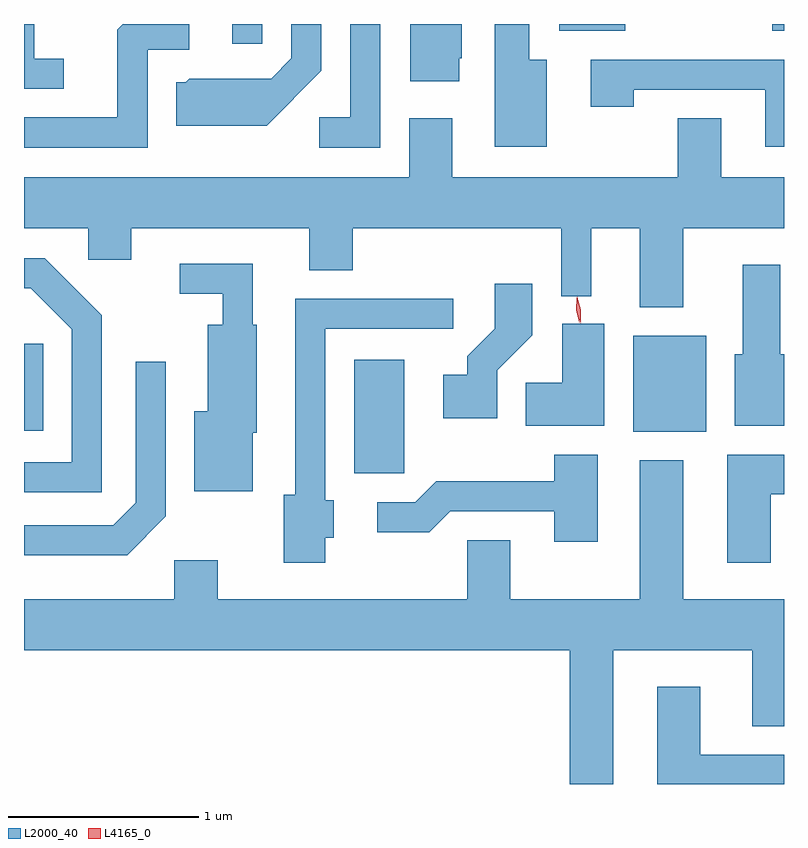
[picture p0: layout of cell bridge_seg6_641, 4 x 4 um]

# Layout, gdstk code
import gdstk
lib = gdstk.Library(unit=1e-6, precision=1e-09)
def R(c, l, rs):  # rectangles x0, y0, x1, y1
    for r in rs: c.add(gdstk.rectangle(r[:2], r[2:], *l))
def P(c, l, *ps):  # polygons
    for p in ps: c.add(gdstk.Polygon(p, *l))
L2000_40 = (2000, 40)
L4165_0 = (4165, 0)

bridge_seg6_641 = lib.new_cell('bridge_seg6_641')
R(bridge_seg6_641, L2000_40, [(212.336,1626.446,212.599,1627.044), (213.806,1626.666,214.189,1627.169), (210.599,1626.671,210.699,1627.129), (211.696,1628.708,211.854,1628.811), (213.416,1628.776,213.764,1628.811), (214.536,1628.776,214.599,1628.811)])
P(bridge_seg6_641, L2000_40, [(211.249,1628.676),(211.469,1628.676),(211.469,1628.811),(211.12,1628.811),(211.091,1628.782),(211.091,1628.319),(210.599,1628.319),(210.599,1628.161),(211.249,1628.161)],
  [(213.349,1628.624),(213.259,1628.624),(213.259,1628.811),(213.076,1628.811),(213.076,1628.166),(213.349,1628.166)],
  [(212.889,1628.63),(212.904,1628.63),(212.904,1628.811),(212.631,1628.811),(212.631,1628.511),(212.889,1628.511)],
  [(212.164,1628.564),(212.164,1628.811),(212.006,1628.811),(212.006,1628.632),(211.899,1628.524),(211.469,1628.524),(211.449,1628.504),(211.401,1628.504),(211.401,1628.276),(211.877,1628.276)],
  [(212.474,1628.811),(212.316,1628.811),(212.316,1628.319),(212.153,1628.319),(212.153,1628.161),(212.474,1628.161)],
  [(210.808,1628.629),(210.654,1628.629),(210.654,1628.811),(210.599,1628.811),(210.599,1628.471),(210.808,1628.471)],
  [(214.599,1628.624),(213.581,1628.624),(213.581,1628.376),(213.809,1628.376),(213.809,1628.466),(214.501,1628.466),(214.501,1628.166),(214.599,1628.166)],
  [(210.599,1627.736),(210.936,1627.736),(210.936,1627.571),(211.164,1627.571),(211.164,1627.736),(212.101,1627.736),(212.101,1627.516),(212.329,1627.516),(212.329,1627.736),(213.426,1627.736),(213.426,1627.378),(213.584,1627.378),(213.584,1627.736),(213.841,1627.736),(213.841,1627.321),(214.069,1627.321),(214.069,1627.736),(214.599,1627.736),(214.599,1628.004),(214.269,1628.004),(214.269,1628.314),(214.041,1628.314),(214.041,1628.004),(212.854,1628.004),(212.854,1628.314),(212.626,1628.314),(212.626,1628.004),(210.599,1628.004)],
  [(211.009,1627.277),(210.707,1627.579),(210.599,1627.579),(210.599,1627.421),(210.634,1627.421),(210.851,1627.204),(210.851,1626.504),(210.599,1626.504),(210.599,1626.346),(211.009,1626.346)],
  [(211.804,1626.661),(211.824,1626.661),(211.824,1627.229),(211.804,1627.229),(211.804,1627.549),(211.418,1627.549),(211.418,1627.391),(211.646,1627.391),(211.646,1627.229),(211.566,1627.229),(211.566,1626.774),(211.496,1626.774),(211.496,1626.351),(211.804,1626.351)],
  [(214.599,1627.074),(214.579,1627.074),(214.579,1627.544),(214.381,1627.544),(214.381,1627.074),(214.341,1627.074),(214.341,1626.696),(214.599,1626.696)],
  [(213.089,1626.989),(213.274,1627.174),(213.274,1627.444),(213.076,1627.444),(213.076,1627.207),(212.931,1627.062),(212.931,1626.964),(212.806,1626.964),(212.806,1626.736),(213.089,1626.736)],
  [(212.184,1626.106),(212.229,1626.106),(212.229,1626.304),(212.184,1626.304),(212.184,1627.206),(212.858,1627.206),(212.858,1627.364),(212.026,1627.364),(212.026,1626.334),(211.966,1626.334),(211.966,1625.976),(212.184,1625.976)],
  [(213.654,1627.234),(213.431,1627.234),(213.431,1626.924),(213.241,1626.924),(213.241,1626.696),(213.654,1626.696)],
  [(211.344,1626.219),(211.344,1627.033),(211.186,1627.033),(211.186,1626.292),(211.069,1626.174),(210.599,1626.174),(210.599,1626.016),(211.142,1626.016)],
  [(214.529,1626.336),(214.599,1626.336),(214.599,1626.544),(214.301,1626.544),(214.301,1625.976),(214.529,1625.976)],
  [(213.619,1626.544),(213.391,1626.544),(213.391,1626.404),(212.769,1626.404),(212.659,1626.294),(212.458,1626.294),(212.458,1626.136),(212.732,1626.136),(212.842,1626.246),(213.391,1626.246),(213.391,1626.086),(213.619,1626.086)],
  [(213.699,1625.516),(214.431,1625.516),(214.431,1625.116),(214.599,1625.116),(214.599,1625.784),(214.069,1625.784),(214.069,1626.514),(213.841,1626.514),(213.841,1625.784),(213.159,1625.784),(213.159,1626.094),(212.931,1626.094),(212.931,1625.784),(211.619,1625.784),(211.619,1625.989),(211.391,1625.989),(211.391,1625.784),(210.599,1625.784),(210.599,1625.516),(213.471,1625.516),(213.471,1624.811),(213.699,1624.811)],
  [(214.599,1624.964),(214.159,1624.964),(214.159,1625.324),(213.931,1625.324),(213.931,1624.811),(214.599,1624.811)])
P(bridge_seg6_641, L4165_0, [(213.521,1627.239),(213.521,1627.24),(213.505,1627.304),(213.508,1627.371),(213.508,1627.371),(213.509,1627.371),(213.525,1627.306),(213.522,1627.24)],
  [(213.529,1627.237),(213.529,1627.238),(213.51,1627.305),(213.51,1627.374),(213.511,1627.375),(213.512,1627.374),(213.53,1627.308),(213.53,1627.238)])

lib.write_gds('bridge_seg6_641.gds')
